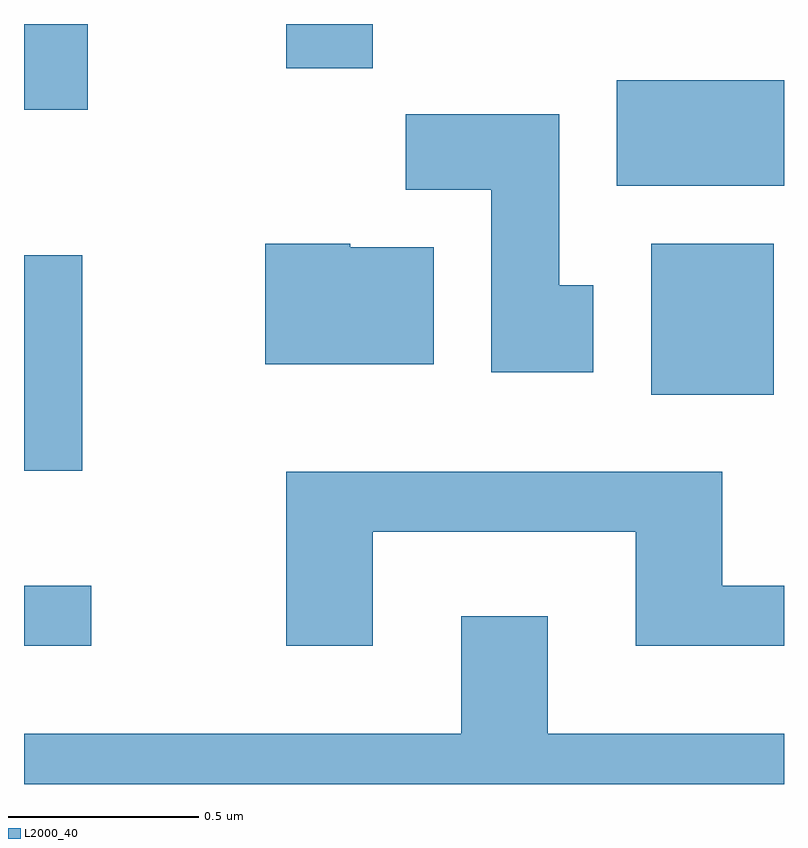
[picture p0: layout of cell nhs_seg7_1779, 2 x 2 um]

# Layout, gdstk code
import gdstk
lib = gdstk.Library(unit=1e-6, precision=1e-09)
def R(c, l, rs):  # rectangles x0, y0, x1, y1
    for r in rs: c.add(gdstk.rectangle(r[:2], r[2:], *l))
def P(c, l, *ps):  # polygons
    for p in ps: c.add(gdstk.Polygon(p, *l))
L2000_40 = (2000, 40)

nhs_seg7_1779 = lib.new_cell('nhs_seg7_1779')
R(nhs_seg7_1779, L2000_40, [(197.611,1803.616,197.788,1803.774), (197.611,1804.076,197.764,1804.644), (199.261,1804.276,199.584,1804.674), (199.171,1804.826,199.611,1805.104), (197.611,1805.026,197.779,1805.252), (198.301,1805.136,198.529,1805.252)])
P(nhs_seg7_1779, L2000_40, [(199.109,1804.564),(199.019,1804.564),(199.019,1805.014),(198.616,1805.014),(198.616,1804.816),(198.841,1804.816),(198.841,1804.336),(199.109,1804.336)],
  [(198.689,1804.664),(198.47,1804.664),(198.47,1804.674),(198.246,1804.674),(198.246,1804.356),(198.689,1804.356)],
  [(198.529,1803.916),(199.221,1803.916),(199.221,1803.616),(199.611,1803.616),(199.611,1803.774),(199.449,1803.774),(199.449,1804.074),(198.301,1804.074),(198.301,1803.616),(198.529,1803.616)],
  [(199.611,1803.384),(198.989,1803.384),(198.989,1803.694),(198.761,1803.694),(198.761,1803.384),(197.611,1803.384),(197.611,1803.252),(199.611,1803.252)])

lib.write_gds('nhs_seg7_1779.gds')
